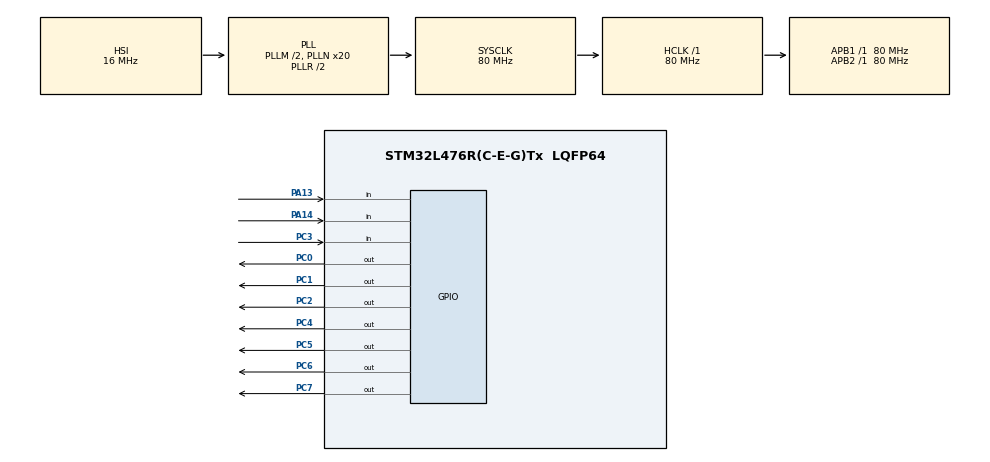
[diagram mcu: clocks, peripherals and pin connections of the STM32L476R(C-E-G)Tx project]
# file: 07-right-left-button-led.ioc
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Mcu.Family=STM32L4
Mcu.Name=STM32L476R(C-E-G)Tx
Mcu.Package=LQFP64
NVIC.PriorityGroup=NVIC_PRIORITYGROUP_4
PA13\ (JTMS-SWDIO).Signal=GPIO_Input
PA14\ (JTCK-SWCLK).Signal=GPIO_Input
PC0.Signal=GPIO_Output
PC1.Signal=GPIO_Output
PC2.Signal=GPIO_Output
PC3.Signal=GPIO_Input
PC4.Signal=GPIO_Output
PC5.Signal=GPIO_Output
PC6.Signal=GPIO_Output
PC7.Signal=GPIO_Output
ProjectManager.HeapSize=0x200
ProjectManager.StackSize=0x400
ProjectManager.TargetToolchain=STM32CubeIDE
RCC.ADCFreq_Value=32000000
RCC.AHBFreq_Value=80000000
RCC.APB1Freq_Value=80000000
RCC.APB1TimFreq_Value=80000000
RCC.APB2Freq_Value=80000000
RCC.APB2TimFreq_Value=80000000
RCC.CortexFreq_Value=80000000
RCC.HCLKFreq_Value=80000000
RCC.HSE_VALUE=8000000
RCC.HSI_VALUE=16000000
RCC.MSI_VALUE=4000000
RCC.PLLM=2
RCC.PLLN=20
RCC.PLLSourceVirtual=RCC_PLLSOURCE_HSI
RCC.PREFETCH_ENABLE=1
RCC.SYSCLKFreq_VALUE=80000000
RCC.SYSCLKSource=RCC_SYSCLKSOURCE_PLLCLK
RCC.USBFreq_Value=32000000
RCC.VCOOutputFreq_Value=160000000
board=NUCLEO-L476RG

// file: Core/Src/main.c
/* USER CODE BEGIN Header */
/**
  ******************************************************************************
  * @file           : main.c
  * @brief          : Main program body
  ******************************************************************************
  * @attention
  *
  * Copyright (c) 2025 STMicroelectronics.
  * All rights reserved.
  *
  * This software is licensed under terms that can be found in the LICENSE file
  * in the root directory of this software component.
  * If no LICENSE file comes with this software, it is provided AS-IS.
  *
  ******************************************************************************
  */
/* USER CODE END Header */
#include "main.h"

void SystemClock_Config(void);
static void MX_GPIO_Init(void);

int main(void)
{

  /* MCU Configuration--------------------------------------------------------*/

  /* Reset of all peripherals, Initializes the Flash interface and the Systick. */
  HAL_Init();

  /* USER CODE BEGIN Init */
  int LED_array[] = {led0, led1, led2, led3, led4, led5, led6, led7};    //LED array
  /* USER CODE END Init */

  /* Configure the system clock */
  SystemClock_Config();

  /* Initialize all configured peripherals */
  MX_GPIO_Init();
  /* USER CODE BEGIN 2 */
  int bit_position = 0;    //led bit position
  HAL_GPIO_WritePin(GPIOC, LED_array[bit_position], GPIO_PIN_SET);    //turn on the default led0
  /* USER CODE END 2 */

  /* Infinite loop */
  /* USER CODE BEGIN WHILE */
  while (1)
  {
    if(HAL_GPIO_ReadPin(GPIOA, LeftButton) == 0){
      HAL_GPIO_WritePin(GPIOC, LED_array[bit_position], GPIO_PIN_RESET);
      bit_position++;    //move left
      if(bit_position > 7){
        bit_position = 0;    //set bit position to the most right position
      }
      HAL_GPIO_WritePin(GPIOC, LED_array[bit_position], GPIO_PIN_SET);
      //debouncing
      HAL_Delay(100);
      while(HAL_GPIO_ReadPin(GPIOA, LeftButton) == 0);
    }

    if(HAL_GPIO_ReadPin(GPIOA, RightButton) == 0){
      HAL_GPIO_WritePin(GPIOC, LED_array[bit_position], GPIO_PIN_RESET);
      bit_position--;    //move right
      if(bit_position < 0){
        bit_position = 7;    //set bit position to the most left position
      }
      HAL_GPIO_WritePin(GPIOC, LED_array[bit_position], GPIO_PIN_SET);
      //debouncing
      HAL_Delay(100);
      while(HAL_GPIO_ReadPin(GPIOA, RightButton) == 0);
    }
    /* USER CODE END WHILE */

  }
}

void SystemClock_Config(void)
{
  RCC_OscInitTypeDef RCC_OscInitStruct = {0};
  RCC_ClkInitTypeDef RCC_ClkInitStruct = {0};

  /** Configure the main internal regulator output voltage
  */
  if (HAL_PWREx_ControlVoltageScaling(PWR_REGULATOR_VOLTAGE_SCALE1) != HAL_OK)
  {
    Error_Handler();
  }

  /** Initializes the RCC Oscillators according to the specified parameters
  * in the RCC_OscInitTypeDef structure.
  */
  RCC_OscInitStruct.OscillatorType = RCC_OSCILLATORTYPE_HSI;
  RCC_OscInitStruct.HSIState = RCC_HSI_ON;
  RCC_OscInitStruct.HSICalibrationValue = RCC_HSICALIBRATION_DEFAULT;
  RCC_OscInitStruct.PLL.PLLState = RCC_PLL_ON;
  RCC_OscInitStruct.PLL.PLLSource = RCC_PLLSOURCE_HSI;
  RCC_OscInitStruct.PLL.PLLM = 2;
  RCC_OscInitStruct.PLL.PLLN = 20;
  RCC_OscInitStruct.PLL.PLLP = RCC_PLLP_DIV7;
  RCC_OscInitStruct.PLL.PLLQ = RCC_PLLQ_DIV2;
  RCC_OscInitStruct.PLL.PLLR = RCC_PLLR_DIV2;
  if (HAL_RCC_OscConfig(&RCC_OscInitStruct) != HAL_OK)
  {
    Error_Handler();
  }

  /** Initializes the CPU, AHB and APB buses clocks
  */
  RCC_ClkInitStruct.ClockType = RCC_CLOCKTYPE_HCLK|RCC_CLOCKTYPE_SYSCLK
                              |RCC_CLOCKTYPE_PCLK1|RCC_CLOCKTYPE_PCLK2;
  RCC_ClkInitStruct.SYSCLKSource = RCC_SYSCLKSOURCE_PLLCLK;
  RCC_ClkInitStruct.AHBCLKDivider = RCC_SYSCLK_DIV1;
  RCC_ClkInitStruct.APB1CLKDivider = RCC_HCLK_DIV1;
  RCC_ClkInitStruct.APB2CLKDivider = RCC_HCLK_DIV1;

  if (HAL_RCC_ClockConfig(&RCC_ClkInitStruct, FLASH_LATENCY_4) != HAL_OK)
  {
    Error_Handler();
  }
}

static void MX_GPIO_Init(void)
{
  GPIO_InitTypeDef GPIO_InitStruct = {0};

  /* GPIO Ports Clock Enable */
  __HAL_RCC_GPIOC_CLK_ENABLE();
  __HAL_RCC_GPIOA_CLK_ENABLE();

  /*Configure GPIO pin Output Level */
  HAL_GPIO_WritePin(GPIOC, GPIO_PIN_0|GPIO_PIN_1|GPIO_PIN_2|GPIO_PIN_4
                          |GPIO_PIN_5|GPIO_PIN_6|GPIO_PIN_7, GPIO_PIN_RESET);

  /*Configure GPIO pins : PC0 PC1 PC2 PC4
                           PC5 PC6 PC7 */
  GPIO_InitStruct.Pin = GPIO_PIN_0|GPIO_PIN_1|GPIO_PIN_2|GPIO_PIN_4
                          |GPIO_PIN_5|GPIO_PIN_6|GPIO_PIN_7;
  GPIO_InitStruct.Mode = GPIO_MODE_OUTPUT_PP;
  GPIO_InitStruct.Pull = GPIO_NOPULL;
  GPIO_InitStruct.Speed = GPIO_SPEED_FREQ_LOW;
  HAL_GPIO_Init(GPIOC, &GPIO_InitStruct);

  /*Configure GPIO pin : PC3 */
  GPIO_InitStruct.Pin = GPIO_PIN_3;
  GPIO_InitStruct.Mode = GPIO_MODE_INPUT;
  GPIO_InitStruct.Pull = GPIO_NOPULL;
  HAL_GPIO_Init(GPIOC, &GPIO_InitStruct);

  /*Configure GPIO pins : PA13 PA14 */
  GPIO_InitStruct.Pin = GPIO_PIN_13|GPIO_PIN_14;
  GPIO_InitStruct.Mode = GPIO_MODE_INPUT;
  GPIO_InitStruct.Pull = GPIO_NOPULL;
  HAL_GPIO_Init(GPIOA, &GPIO_InitStruct);

}

void Error_Handler(void)
{
  __disable_irq();
  while (1)
  {
  }
}
